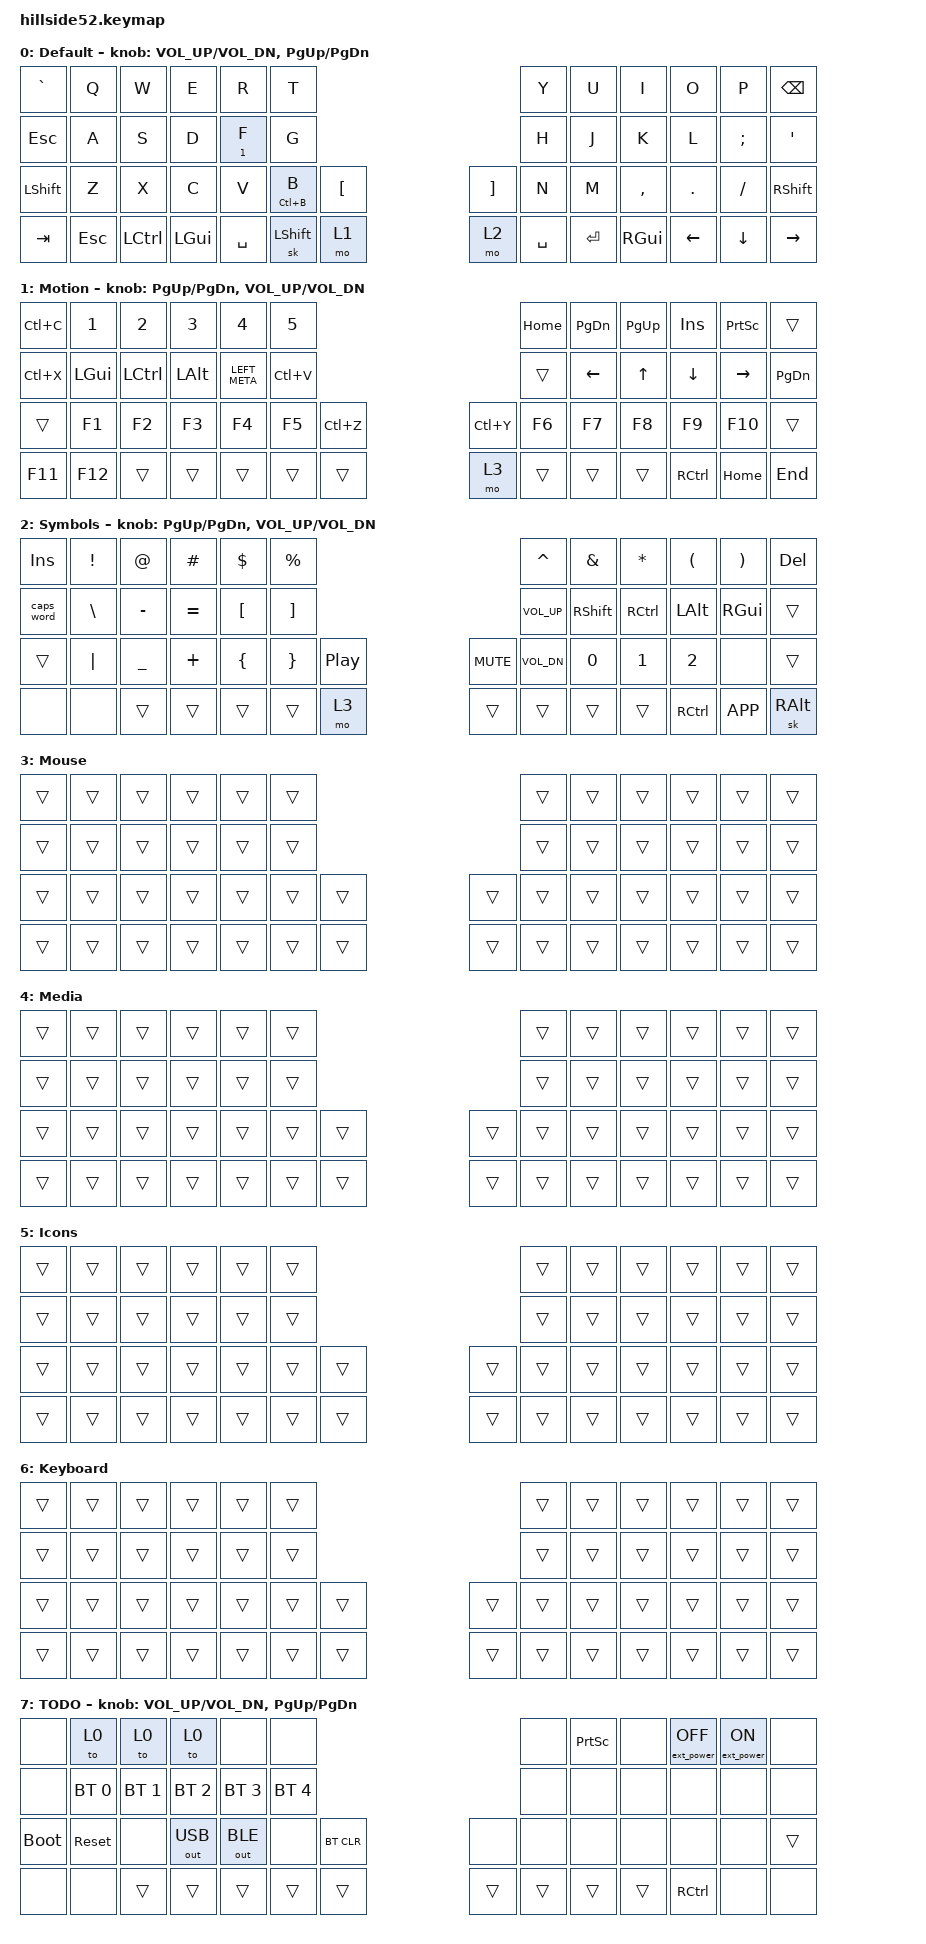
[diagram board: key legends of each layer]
/*
 * Copyright (c) 2021-2022 The ZMK Contributors
 *
 * SPDX-License-Identifier: MIT
 */

#include <behaviors.dtsi>
#include <dt-bindings/zmk/bt.h>
#include <dt-bindings/zmk/ext_power.h>
#include <dt-bindings/zmk/keys.h>
#include <dt-bindings/zmk/outputs.h>

#define QWERTY_L 0
#define DVORAK_L 1
#define COLEMK_L 2
#define NAV_L    3
#define SYM_L    4
#define ADJ_L    5
#define Undo   LC(Z)
#define Cut    LC(X)
#define Copy   LC(C)
#define Paste  LC(V)
#define Redo   LC(Y)

/ {
    behaviors {
        hold: hold {
            compatible = "zmk,behavior-hold-tap";
            label = "HOLD";
            bindings = <&kp>, <&kp>;

            #binding-cells = <2>;
            tapping-term-ms = <130>;
            hold-while-undecided;
        };

        toggle_layter: toggle_layter {
            compatible = "zmk,behavior-toggle-layer";
            label = "TOGGLE_LAYTER";
            #binding-cells = <1>;
        };

        mouse_key_press: mouse_key_press {
            compatible = "zmk,behavior-mouse-key-press";
            label = "MOUSE_KEY_PRESS";
            #binding-cells = <1>;
        };

        key_toggle: key_toggle {
            compatible = "zmk,behavior-key-toggle";
            label = "KEY_TOGGLE";
            #binding-cells = <1>;
        };

        layer_toggle_on_hold: layer_toggle_on_hold {
            compatible = "zmk,behavior-hold-tap";
            label = "LAYER_TOGGLE_ON_HOLD";
            bindings = <&toggle_layter>, <&kp>;

            #binding-cells = <2>;
            tapping-term-ms = <130>;
        };
    };

    keymap {
        compatible = "zmk,keymap";

        l1_default {
            /* QWERTY
 * -------------------------------------------------------------------------------------------------------------------------------------
 * | `     |   Q   |   W   |   E   |   R   |   T   |-----------------------------------|   Y   |   U   |   I   |   O   |   P   | BKSPC |
 * | TAB   |   A   |   S   |   D   |   F   |   G   |-----------------------------------|   H   |   J   |   K   |   L   |   ;   | ENTER |
 * | SHIFT |   Z   |   X   |   C   |   V   |   B   |   '   |-------------------|   /   |   N   |   M   |   ,   |   .   |  Up   | SHIFT |
 * | Mute  |  ESC  | CTRL  |-------|  GUI  |  ALT  |SK SHFT|  Nav  |---|  Sym  | SPACE |  ALT  |  GUI  |-------| Left  | Down  | Right |
 */

            bindings = <
&kp GRAVE   &kp Q    &kp W      &kp E  &kp R                      &kp T                                                             &kp Y      &kp U     &kp I      &kp O     &kp P      &kp BSPC
&kp ESCAPE  &kp A    &kp S      &kp D  &layer_toggle_on_hold 1 F  &kp G                                                             &kp H      &kp J     &kp K      &kp L     &kp SEMI   &kp SQT
&kp LSHFT   &kp Z    &kp X      &kp C  &kp V                      &hold LC(B) B  &kp LEFT_BRACKET                &kp RIGHT_BRACKET  &kp N      &kp M     &kp COMMA  &kp DOT   &kp SLASH  &kp RSHFT
&kp TAB     &kp ESC  &kp LCTRL         &kp LGUI                   &kp SPACE      &sk LSHIFT        &mo 1  &mo 2  &kp SPACE          &kp ENTER  &kp RGUI             &kp LEFT  &kp DOWN   &kp RIGHT
            >;

            sensor-bindings = <&inc_dec_kp C_VOL_UP C_VOL_DN &inc_dec_kp PG_UP PG_DN>;
            label = "Default";
        };

        l2_motion {
            /* NAV
 * -------------------------------------------------------------------------------------------------------------------------------------
 * | Copy  |   1   |   2   |   3   |   4   |   5   |-----------------------------------|   6   |   7   |   8   |   9   |   0   | BSPC  |
 * | Cut   |  GUI  |  Alt  | Ctrl  | Shift | Paste |-----------------------------------| PG UP |  Left |  Up   |  Down | Right | PG DN |
 * | Shift |  F1   |  F2   |  F3   |  F4   |  F5   |  UnDo |-------------------| ReDo  |  F6   |  F7   |  F8   |  F9   |  F10  | Shift |
 * | F11   |  F12  |       |-------|       |       |       |       |---| ADJ_L |       |       |       |-------| CTRL  | HOME  |  END  |
 */

            bindings = <
&kp Copy  &kp N1    &kp N2     &kp N3        &kp N4         &kp N5                                        &kp HOME  &kp PAGE_DOWN  &kp PAGE_UP  &kp INSERT  &kp PRINTSCREEN  &trans
&kp Cut   &kp LGUI  &kp LCTRL  &kp LEFT_ALT  &kp LEFT_META  &kp Paste                                     &trans    &kp LEFT       &kp UP       &kp DOWN    &kp RIGHT        &kp PG_DN
&trans    &kp F1    &kp F2     &kp F3        &kp F4         &kp F5     &kp Undo                 &kp Redo  &kp F6    &kp F7         &kp F8       &kp F9      &kp F10          &trans
&kp F11   &kp F12   &trans                   &trans         &trans     &trans    &trans  &mo 3  &trans    &trans    &trans                      &kp RCTRL   &kp HOME         &kp END
            >;

            sensor-bindings = <&inc_dec_kp PG_UP PG_DN &inc_dec_kp C_VOL_UP C_VOL_DN>;
            label = "Motion";
        };

        l3_symbols {
            /* SYM
 * -------------------------------------------------------------------------------------------------------------------------------------
 * | INS   |   !   |   @   |   #   |   $   |   %   |-----------------------------------|   ^   |   &   |   *   |   (   |   )   | DELETE|
 * | CAPS  |   \   |   -   |   =   |   [   |   ]   |-----------------------------------| Vol+  | Shift | Ctrl  | Alt   | Gui   | ENTER |
 * | Shift |   |   |   _   |   +   |   {   |   }   | Play  |-------------------| Mute  | Vol-  |  N0   |  N1   |  N2   |       | SHIFT |
 * |       |       |       |-------|       |       |       |  ADJ_L |---|      |       |       |       |-------| CTRL  | MENU  |SkAltGr|
 */

            bindings = <
&kp INS     &kp EXCL  &kp AT     &kp HASH   &kp DOLLAR  &kp PERCENT                                       &kp CARET     &kp AMPS   &kp ASTRK  &kp LPAR   &kp RPAR   &kp DEL
&caps_word  &kp BSLH  &kp MINUS  &kp EQUAL  &kp LBKT    &kp RBKT                                          &kp C_VOL_UP  &kp RSHFT  &kp RCTRL  &kp LALT   &kp RGUI   &trans
&trans      &kp PIPE  &kp UNDER  &kp PLUS   &kp LBRC    &kp RBRC     &kp C_PP                 &kp C_MUTE  &kp C_VOL_DN  &kp N0     &kp N1     &kp N2     &none      &trans
&none       &none     &trans                &trans      &trans       &trans    &mo 3  &trans  &trans      &trans        &trans                &kp RCTRL  &kp K_APP  &sk RALT
            >;

            sensor-bindings = <&inc_dec_kp PG_UP PG_DN &inc_dec_kp C_VOL_UP C_VOL_DN>;
            label = "Symbols";
        };

        l4_mouse {
            bindings = <
&trans  &trans  &trans  &trans  &trans  &trans                                  &trans  &trans  &trans  &trans  &trans  &trans
&trans  &trans  &trans  &trans  &trans  &trans                                  &trans  &trans  &trans  &trans  &trans  &trans
&trans  &trans  &trans  &trans  &trans  &trans  &trans                  &trans  &trans  &trans  &trans  &trans  &trans  &trans
&trans  &trans  &trans          &trans  &trans  &trans  &trans  &trans  &trans  &trans  &trans          &trans  &trans  &trans
            >;

            label = "Mouse";
        };

        l5_media {
            bindings = <
&trans  &trans  &trans  &trans  &trans  &trans                                  &trans  &trans  &trans  &trans  &trans  &trans
&trans  &trans  &trans  &trans  &trans  &trans                                  &trans  &trans  &trans  &trans  &trans  &trans
&trans  &trans  &trans  &trans  &trans  &trans  &trans                  &trans  &trans  &trans  &trans  &trans  &trans  &trans
&trans  &trans  &trans          &trans  &trans  &trans  &trans  &trans  &trans  &trans  &trans          &trans  &trans  &trans
            >;

            label = "Media";
        };

        l6_icons {
            bindings = <
&trans  &trans  &trans  &trans  &trans  &trans                                  &trans  &trans  &trans  &trans  &trans  &trans
&trans  &trans  &trans  &trans  &trans  &trans                                  &trans  &trans  &trans  &trans  &trans  &trans
&trans  &trans  &trans  &trans  &trans  &trans  &trans                  &trans  &trans  &trans  &trans  &trans  &trans  &trans
&trans  &trans  &trans          &trans  &trans  &trans  &trans  &trans  &trans  &trans  &trans          &trans  &trans  &trans
            >;

            label = "Icons";
        };

        l7_keyboard {
            bindings = <
&trans  &trans  &trans  &trans  &trans  &trans                                  &trans  &trans  &trans  &trans  &trans  &trans
&trans  &trans  &trans  &trans  &trans  &trans                                  &trans  &trans  &trans  &trans  &trans  &trans
&trans  &trans  &trans  &trans  &trans  &trans  &trans                  &trans  &trans  &trans  &trans  &trans  &trans  &trans
&trans  &trans  &trans          &trans  &trans  &trans  &trans  &trans  &trans  &trans  &trans          &trans  &trans  &trans
            >;

            label = "Keyboard";
        };

        adj_layer {
            /* ADJUST
 * -------------------------------------------------------------------------------------------------------------------------------------
 * |       | QWERTY| DVORAK| COLEMK|       |       |-----------------------------------|       |Prt Scr|       | EP_OFF| EP_ON |       |
 * |       | BT 0  | BT 1  | BT 2  | BT 3  | BT 4  |-----------------------------------|       |       |       |       |       |       |
 * | BOOTL | RESET |       |OUT_USB|OUT_BLE|       |BT CLR |-------------------|       |       |       |       |       |       | SHIFT |
 * ----------------|       |-------|       |       |       |       |---|       |       |       |       |-------| CTRL  |----------------
 */

            bindings = <
&none        &to 0         &to 0         &to 0         &none         &none                                             &none   &kp PRINTSCREEN  &none  &ext_power EP_OFF  &ext_power EP_ON  &none
&none        &bt BT_SEL 0  &bt BT_SEL 1  &bt BT_SEL 2  &bt BT_SEL 3  &bt BT_SEL 4                                      &none   &none            &none  &none              &none             &none
&bootloader  &sys_reset    &none         &out OUT_USB  &out OUT_BLE  &none         &bt BT_CLR                  &none   &none   &none            &none  &none              &none             &trans
&none        &none         &trans                      &trans        &trans        &trans      &trans  &trans  &trans  &trans  &trans                  &kp RCTRL          &none             &none
            >;

            sensor-bindings = <&inc_dec_kp C_VOL_UP C_VOL_DN &inc_dec_kp PG_UP PG_DN>;
            label = "TODO";
        };
    };
};
